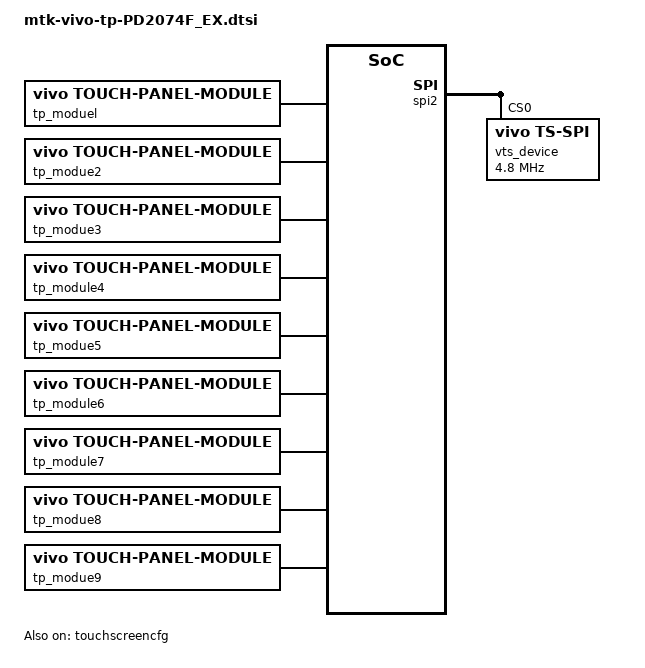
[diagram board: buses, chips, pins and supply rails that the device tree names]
/*********************touch screen config *************************/
&touchscreencfg { /* vivo ts configure */
		compatible = "vivo,touchscreen-config";
		vivo,ts-product-name="PD2014";
		vivo,use-ic-list="nt36525";
		vivo,ts_vdd_mode="gpio_mode"; /*regulator_mode or gpio_mode*/
		/*----- function set BEG ---- */
		vivo,ts-gloves-mode=<0>;
		vivo,ts-large-obj-suppression=<1>;
		vivo,ts-dclick-wake=<1>;
		vivo,ts-gesture-mode=<1>; /*1=sold in native,2=sold in abroad,3...etc=for custom extensive*/
		vivo,ts-custom-gesture=<0>;
		vivo,ts-module-id-methods=<2>;/*0=by IC id,1=gpio,2=by LCD ID 3=...etc=for custom extensive*/
		vivo,ts-fw-upgrade-lcd-referrence=<0>;
		vivo,ts-anti-esd=<1>;
		vivo,ts-charger-conn-judge=<1>;
		vivo,ts-module-smt-mode=<1>; /* 0=COB,1=COF */
		/*----- function set END ---- */
		status = "okay";
		
	tp_moduel{
		compatible = "vivo,touch-panel-module";
		vts-ic-number=<82>;
		vts-type=<0>;
		vts-lcmid=<49>;//BOE NT36525
		vts-dimention-x=<720>;
		vts-dimention-y=<1600>;
		vts-tx-sensors=<18>;
		vts-rx-sensors=<32>;
		vts-incell=<1>;
		vts-need-caliberation=<0>;
		vts-virtual-proximinity=<0>;
		vts-long-press=<0>;
		vts-module-vendor=<0xF0>;
		vts-no-flash=<1>;
		vts-gesture=<1>;
		};
	tp_modue2{
		compatible = "vivo,touch-panel-module";
		vts-ic-number=<82>;
		vts-type=<0>;
		vts-lcmid=<161>;//TXD NT36525
		vts-dimention-x=<720>;
		vts-dimention-y=<1600>;
		vts-tx-sensors=<18>;
		vts-rx-sensors=<32>;
		vts-incell=<1>;
		vts-need-caliberation=<0>;
		vts-virtual-proximinity=<0>;
		vts-long-press=<0>;
		vts-module-vendor=<0xF0>;
		vts-no-flash=<1>;
		vts-gesture=<1>;
	};
	tp_modue3{
		compatible = "vivo,touch-panel-module";
		vts-ic-number=<82>;
		vts-type=<0>;
		vts-lcmid=<177>;//INX NT36525
		vts-dimention-x=<720>;
		vts-dimention-y=<1600>;
		vts-tx-sensors=<18>;
		vts-rx-sensors=<32>;
		vts-incell=<1>;
		vts-need-caliberation=<0>;
		vts-virtual-proximinity=<0>;
		vts-long-press=<0>;
		vts-module-vendor=<0xF0>;
		vts-no-flash=<1>;
		vts-gesture=<1>;
	};
	tp_module4 {
		compatible = "vivo,touch-panel-module";
		vts-ic-number=<90>;
		vts-type=<0>;
		vts-lcmid=<17>;//0x11  ili9881 
		vts-dimention-x=<720>;
		vts-dimention-y=<1600>;
		vts-tx-sensors=<18>;
		vts-rx-sensors=<32>;
		vts-incell=<1>;
		vts-need-caliberation=<0>;
		vts-virtual-proximinity=<0>;
		vts-long-press=<0>;
		vts-module-vendor=<0xF0>;
		vts-no-flash=<1>;
	};
	tp_modue5{
		compatible = "vivo,touch-panel-module";
		vts-ic-number=<82>;
		vts-type=<0>;
		vts-lcmid=<178>;//INX NT36525 G5
		vts-dimention-x=<720>;
		vts-dimention-y=<1600>;
		vts-tx-sensors=<18>;
		vts-rx-sensors=<32>;
		vts-incell=<1>;
		vts-need-caliberation=<0>;
		vts-virtual-proximinity=<0>;
		vts-long-press=<0>;
		vts-module-vendor=<0xF0>;
		vts-no-flash=<1>;
		vts-gesture=<1>;
	};
	tp_module6 {
		compatible = "vivo,touch-panel-module";
		vts-ic-number=<91>;
		vts-type=<0>;
		vts-lcmid=<179>;//0xb3  INX ILI 9882N 
		vts-dimention-x=<720>;
		vts-dimention-y=<1600>;
		vts-tx-sensors=<18>;
		vts-rx-sensors=<32>;
		vts-incell=<1>;
 		vts-need-caliberation=<0>;
 		vts-virtual-proximinity=<0>;
 		vts-long-press=<0>;
		vts-module-vendor=<0xF0>;
		vts-no-flash=<1>;
		vts-gesture=<0>;
	};
	tp_module7 {
		compatible = "vivo,touch-panel-module";
		vts-ic-number=<91>;
		vts-type=<0>;
		vts-lcmid=<18>;//0x12   ILI9882N  TM 
		vts-dimention-x=<720>;
		vts-dimention-y=<1600>;
		vts-tx-sensors=<18>;
		vts-rx-sensors=<32>;
		vts-incell=<1>;
 		vts-need-caliberation=<0>;
 		vts-virtual-proximinity=<0>;
 		vts-long-press=<0>;
		vts-module-vendor=<0xF0>;
		vts-no-flash=<1>;
		vts-gesture=<0>;
	};
	tp_modue8{
		compatible = "vivo,touch-panel-module";
		vts-ic-number=<37>;
		vts-type=<0>;
		vts-lcmid=<146>;//1211742+BOE+FT8016 0X92
		vts-dimention-x=<720>;
		vts-dimention-y=<1600>;
		vts-tx-sensors=<18>;
		vts-rx-sensors=<32>;
		vts-incell=<1>;
		vts-need-caliberation=<0>;
		vts-virtual-proximinity=<0>;
		vts-long-press=<0>;
		vts-module-vendor=<0xF0>;
		vts-no-flash=<1>;
	};
	tp_modue9{
		compatible = "vivo,touch-panel-module";
		vts-ic-number=<84>;
		vts-type=<0>;
		vts-lcmid=<145>;//NT36525A+TXD 1211747 0x91 
		vts-dimention-x=<720>;
		vts-dimention-y=<1600>;
		vts-tx-sensors=<18>;
		vts-rx-sensors=<32>;
		vts-incell=<1>;
		vts-need-caliberation=<0>;
		vts-virtual-proximinity=<0>;
		vts-long-press=<0>;
		vts-module-vendor=<0xF0>;
		vts-no-flash=<1>;
	};
};
&pio{

	spi2_clk_set_cfg:spi2_clk_set{
		pins_cmd_dat { 
		pinmux = <PINMUX_GPIO18__FUNC_SPI2_CLK>; 
		bias-disable; 
		drive-strength = <3>;//0--2ma   ......3 8mA
		};
	};
	spi2_cs_set_cfg:spi2_cs_set{
		pins_cmd_dat { 
		pinmux = <PINMUX_GPIO20__FUNC_GPIO20>; 
		drive-strength = <3>;
		bias-disable; 
		};
	};
	spi2_miso_set_cfg:spi2_miso_set{
		pins_cmd_dat { 
		pinmux = <PINMUX_GPIO19__FUNC_GPIO19>; 
		drive-strength = <3>;
		bias-disable; 
		};
	};
	spi2_mosi_set_cfg:spi2_mosi_set{
		pins_cmd_dat { 
		pinmux = <PINMUX_GPIO17__FUNC_SPI2_MO>; 
		drive-strength = <3>;
		bias-disable; 
		};
	};
	spi_pins_pd2036_cfg:spi_pins_pd2036 {
		pins_cmd_dat {
			pinmux = <PINMUX_GPIO18__FUNC_SPI2_CLK>,
					 <PINMUX_GPIO19__FUNC_SPI2_MI>,
					 <PINMUX_GPIO17__FUNC_SPI2_MO>,
					 <PINMUX_GPIO20__FUNC_SPI2_CSB>;
			drive-strength = <3>;
			bias-disable;
		};
	};
};


&spi2 {
	#address-cells = <1>;
	#size-cells = <0>;	
	
	vts_device@0 {
		compatible = "vivo,ts-spi";
		status = "okay";
		reg=<0>;
		spi-max-frequency = <4800000>;

		nt36672 {
			compatible = "novatek,NVT-ts-spi-v2";
			status = "ok";
		
			vts-type=<0>;
			vts-ic-number=<82>;
			spi-max-frequency = <9600000>;	//4800000,9600000,15000000,19200000
			pinctrl-names = "spi_clk_active","spi_mosi_active";
			pinctrl-0 = <&spi2_clk_set_cfg>;
			//novatek,reset-gpio = <&pio 10 0x00>;
			novatek,irq-gpio = <&pio 0 0x02>;
			sensor-test-key="com.nttouchscreen.mptest:MainActivity:android.intent.action.novatek:0:testResult";
			lcm-noise-test-key="com.nt36xxxtouchscreen.deltadiff:MainActivity:null:null:null";
			rawdata-test-key="com.nttouchscreen.getdata:MainActivity:null:null:null";
			rf-noise-test-key="com.nt36xxxtouchscreen.deltadiff:BspTest:android.intent.action.nvtdeltadiff:0:testResult";
			
			/* 672 */
			//novatek,swrst-n8-addr = <0x01F01A>;

			/* 672A */
			novatek,swrst-n8-addr = <0x03F0FE>;
		};
		ili9881h {
			compatible = "ilitek,ILI-ts-spi-v2";
			status = "ok";
			vts-type=<0>;
			vts-ic-number=<90>;
			spi-max-frequency = <9600000>;	//4800000,9600000,15000000,19200000
			ilitek,reset-gpio = <&pio 21 0x00>;
			ilitek,irq-gpio = <&pio 0 0x02>;
			
			sensor-test-key="com.ilitek.touchscreen.tptest:MainActivity:com.ilitek.touchscreen.action.tptest:0:ILITEK_TpTestResult";
			lcm-noise-test-key="com.ilitek.touchscreen.noisev2:MainActivity:null:null:null"; 
			rawdata-test-key="com.ilitek.touchscreen.noisev2:DataShowActivity:null:null:null";
			rf-noise-test-key="com.ilitek.touchscreen.noisev2:BspTestActivity:com.ilitek.touchscreen.action.noisetest:0:ILITEK_TpTestResult";
			
		};
		ili_9882n {
			status = "okay";
			compatible = "tchip,ilitek";
			vts-type=<0>;
			vts-ic-number=<91>;
			spi-max-frequency = <9600000>;
			touch,reset-gpio = <&pio 21 0x00>;
			touch,irq-gpio = <&pio 0 0x02>;

			sensor-test-key="com.ilitek.touchscreen.tptest3X:MP3XActivity:com.ilitek.touchscreen.action.tptest:0:ILITEK_TpTestResult";
			lcm-noise-test-key="com.ilitek.touchscreen.noisev2:MainActivity:null:null:null"; 
			rawdata-test-key="com.ilitek.touchscreen.noisev2:DataShowActivity:null:null:null";
			rf-noise-test-key="com.ilitek.touchscreen.noisev2:BspTestActivity:com.ilitek.touchscreen.action.noisetest:0:ILITEK_TpTestResult";

		};
		ft8016 {
			compatible = "focaltech,ft8756_v2";
			vts-type=<0>;
			vts-ic-number=<37>;
			spi-max-frequency = <6000000>;	//4800000,9600000,15000000,19200000
			focaltech,reset-gpio = <&pio 21 0x00>;
			focaltech,irq-gpio = <&pio 0 0x02>;
			focaltech,max-touch-number = <10>;
			focaltech,display-coords = <0 0 720 1600>;
			focaltech,ic_name = "ft8016";
			sensor-test-key="com.focaltouchscreen.sensortest:MainActivity:com.focaltouchscreen.sensortest:0:focal_test_result";
			lcm-noise-test-key="com.focaltech.deltadiff:MainActivity:null:null:null";
			rawdata-test-key="com.focaltech.deltadiff:DataActivity:null:null:null";
			rf-noise-test-key="com.focaltech.deltadiff:BspTestActivity:com.focaltech.deltadiff:0:testResult";

 		};
		nt36525A {
			compatible = "novatek,NVT-ts-spi-v2";
			status = "ok";
			vts-type=<0>;
			vts-ic-number=<84>;
			spi-max-frequency = <9600000>;	//4800000,9600000,15000000,19200000
			pinctrl-names = "spi_clk_active","spi_mosi_active";
			pinctrl-0 = <&spi2_clk_set_cfg>;
			novatek,reset-gpio = <&pio 21 0x00>;
			novatek,irq-gpio = <&pio 0 0x02>;
			sensor-test-key="com.nttouchscreen.mptest:MainActivity:android.intent.action.novatek:0:testResult";
			lcm-noise-test-key="com.nt36xxxtouchscreen.deltadiff:MainActivity:null:null:null";
			rawdata-test-key="com.nttouchscreen.getdata:MainActivity:null:null:null";
			rf-noise-test-key="com.nt36xxxtouchscreen.deltadiff:BspTest:android.intent.action.nvtdeltadiff:0:testResult";
			
			/* 672 */
			//novatek,swrst-n8-addr = <0x01F01A>;

			/* 672A */
			novatek,swrst-n8-addr = <0x03F0FE>;
		};
};
};
	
